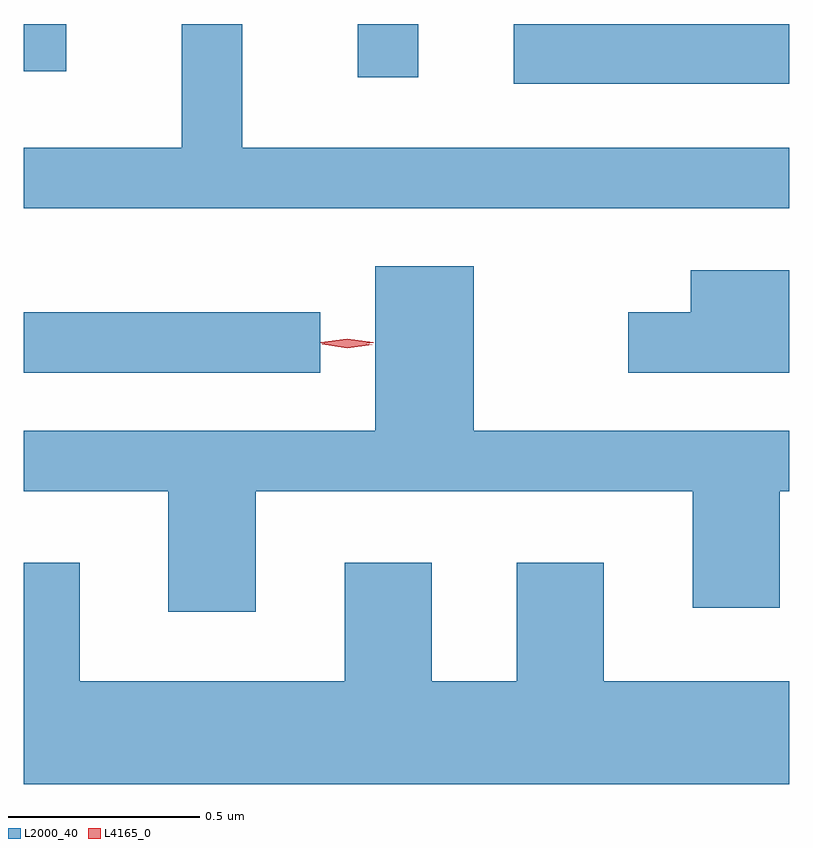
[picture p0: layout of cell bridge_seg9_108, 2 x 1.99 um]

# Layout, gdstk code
import gdstk
lib = gdstk.Library(unit=1e-6, precision=1e-09)
def R(c, l, rs):  # rectangles x0, y0, x1, y1
    for r in rs: c.add(gdstk.rectangle(r[:2], r[2:], *l))
def P(c, l, *ps):  # polygons
    for p in ps: c.add(gdstk.Polygon(p, *l))
L2000_40 = (2000, 40)
L4165_0 = (4165, 0)

bridge_seg9_108 = lib.new_cell('bridge_seg9_108')
R(bridge_seg9_108, L2000_40, [(1817.103,1979.571,1817.878,1979.729), (1818.383,1980.326,1819.103,1980.482), (1817.976,1980.343,1818.134,1980.482), (1817.103,1980.358,1817.214,1980.482)])
P(bridge_seg9_108, L2000_40, [(1819.103,1980.159),(1817.674,1980.159),(1817.674,1980.482),(1817.516,1980.482),(1817.516,1980.159),(1817.103,1980.159),(1817.103,1980.001),(1819.103,1980.001)],
  [(1817.709,1979.261),(1818.851,1979.261),(1818.851,1978.956),(1819.079,1978.956),(1819.079,1979.261),(1819.103,1979.261),(1819.103,1979.419),(1818.279,1979.419),(1818.279,1979.849),(1818.021,1979.849),(1818.021,1979.419),(1817.103,1979.419),(1817.103,1979.261),(1817.481,1979.261),(1817.481,1978.946),(1817.709,1978.946)],
  [(1819.103,1979.839),(1818.846,1979.839),(1818.846,1979.729),(1818.683,1979.729),(1818.683,1979.571),(1819.103,1979.571)],
  [(1819.103,1978.764),(1818.619,1978.764),(1818.619,1979.074),(1818.391,1979.074),(1818.391,1978.764),(1818.169,1978.764),(1818.169,1979.074),(1817.941,1979.074),(1817.941,1978.764),(1817.249,1978.764),(1817.249,1979.074),(1817.103,1979.074),(1817.103,1978.496),(1819.103,1978.496)])
P(bridge_seg9_108, L4165_0, [(1817.948,1979.635),(1817.883,1979.645),(1817.882,1979.646),(1817.883,1979.646),(1817.948,1979.655),(1818.014,1979.644),(1818.014,1979.644),(1818.014,1979.644)],
  [(1817.948,1979.639),(1817.879,1979.649),(1817.879,1979.649),(1817.879,1979.65),(1817.948,1979.659),(1818.016,1979.65),(1818.017,1979.649),(1818.016,1979.649)])

lib.write_gds('bridge_seg9_108.gds')
